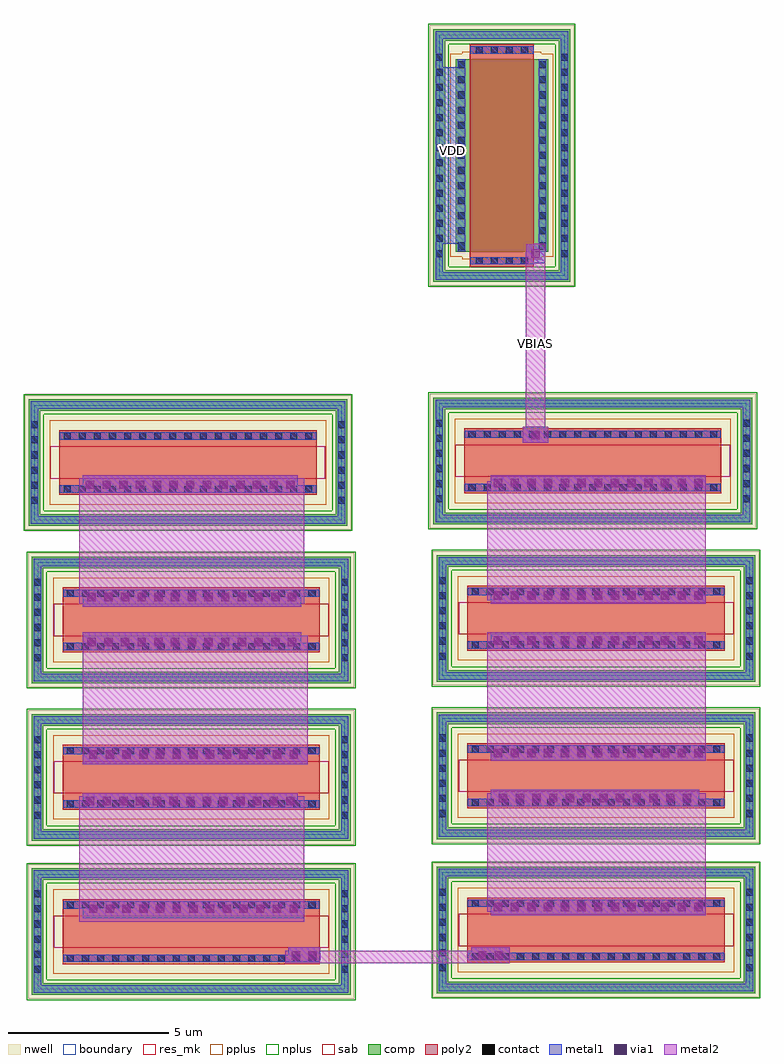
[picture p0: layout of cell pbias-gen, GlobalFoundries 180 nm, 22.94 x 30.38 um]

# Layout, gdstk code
import gdstk
lib = gdstk.Library(unit=1e-6, precision=1e-09)
def R(c, l, rs):  # rectangles x0, y0, x1, y1
    for r in rs: c.add(gdstk.rectangle(r[:2], r[2:], *l))
def A(c, l, x, y, w, h, nx, ny, dx, dy):  # array of equal rectangles
    R(c, l, [(x+i*dx, y+j*dy, x+i*dx+w, y+j*dy+h) for i in range(nx) for j in range(ny)])
boundary = (0, 0)
nwell = (21, 0)
comp = (22, 0)
poly2 = (30, 0)
pplus = (31, 0)
nplus = (32, 0)
contact = (33, 0)
metal1 = (34, 0)
via1 = (35, 0)
metal2 = (36, 0)
sab = (49, 0)
res_mk = (110, 5)

ppolyf_u_8kyxhd = lib.new_cell('ppolyf_u_8KYXHD')
R(ppolyf_u_8kyxhd, boundary, [(-4.78,-1.79,4.78,1.79)])
R(ppolyf_u_8kyxhd, nwell, [(-5.08,-2.09,5.08,2.09)])
R(ppolyf_u_8kyxhd, comp, [(-4.96,-1.97,4.96,-1.61), (-4.96,-1.61,-4.6,1.61), (4.6,-1.61,4.96,1.61), (-4.96,1.61,4.96,1.97)])
R(ppolyf_u_8kyxhd, poly2, [(-4,-1.01,4,1.01)])
R(ppolyf_u_8kyxhd, pplus, [(-4.3,-1.31,4.3,1.31)])
R(ppolyf_u_8kyxhd, nplus, [(-5.12,-2.13,5.12,-1.5), (-5.12,-1.5,-4.49,1.5), (4.49,-1.5,5.12,1.5), (-5.12,1.5,5.12,2.13)])
A(ppolyf_u_8kyxhd, contact, -4.89, -1.285, 0.22, 0.22, 1, 6, 0, 0.47)
A(ppolyf_u_8kyxhd, contact, 4.67, -1.285, 0.22, 0.22, 1, 6, 0, 0.47)
A(ppolyf_u_8kyxhd, contact, -3.87, -0.94, 0.22, 0.22, 17, 2, 0.47, 1.66)
R(ppolyf_u_8kyxhd, metal1, [(-4.895,-1.905,4.895,-1.675), (-4.895,-1.675,-4.665,1.675), (4.665,-1.675,4.895,1.675), (-3.99,-0.945,3.99,-0.715), (-3.99,0.715,3.99,0.945), (-4.895,1.675,4.895,1.905)])
R(ppolyf_u_8kyxhd, sab, [(-4.28,-0.5,4.28,0.5)])
R(ppolyf_u_8kyxhd, res_mk, [(-4,-0.5,4,0.5)])

pfet_03v3_cu5lap = lib.new_cell('pfet_03v3_CU5LAP')
R(pfet_03v3_cu5lap, boundary, [(-1.95,-3.75,1.95,3.75)])
R(pfet_03v3_cu5lap, nwell, [(-2.25,-4.05,2.25,4.05)])
R(pfet_03v3_cu5lap, comp, [(-2.13,-3.93,2.13,-3.57), (-2.13,-3.57,-1.77,3.57), (1.77,-3.57,2.13,3.57), (-1.44,-3,1.44,3), (-2.13,3.57,2.13,3.93)])
R(pfet_03v3_cu5lap, poly2, [(-1,-3.46,1,3.46)])
R(pfet_03v3_cu5lap, pplus, [(-1.23,-3.23,1.23,-3.16), (-1.6,-3.16,1.6,3.16), (-1.23,3.16,1.23,3.23)])
R(pfet_03v3_cu5lap, nplus, [(-2.29,-4.09,2.29,-3.46), (-2.29,-3.46,-1.66,3.46), (1.66,-3.46,2.29,3.46), (-2.29,3.46,2.29,4.09)])
A(pfet_03v3_cu5lap, contact, -0.815, -3.39, 0.22, 0.22, 4, 2, 0.47, 6.56)
A(pfet_03v3_cu5lap, contact, -2.06, -3.165, 0.22, 0.22, 1, 14, 0, 0.47)
A(pfet_03v3_cu5lap, contact, 1.84, -3.165, 0.22, 0.22, 1, 14, 0, 0.47)
A(pfet_03v3_cu5lap, contact, -1.37, -2.93, 0.22, 0.22, 1, 13, 0, 0.47)
A(pfet_03v3_cu5lap, contact, 1.15, -2.93, 0.22, 0.22, 1, 13, 0, 0.47)
R(pfet_03v3_cu5lap, metal1, [(-2.065,-3.865,2.065,-3.635), (-2.065,-3.635,-1.835,3.635), (1.835,-3.635,2.065,3.635), (-0.99,-3.395,0.99,-3.165), (-1.375,-2.99,-1.145,2.99), (1.145,-2.99,1.375,2.99), (-0.99,3.165,0.99,3.395), (-2.065,3.635,2.065,3.865)])

pbias_gen = lib.new_cell('pbias-gen')
R(pbias_gen, nwell, [(-0.2,-14.9,9.96,-10.72), (12.4,-14.85,22.56,-10.67), (-0.2,-10.1,9.96,-5.92), (12.4,-10.05,22.56,-5.87), (-0.2,-5.2,9.96,-1.02), (12.4,-5.15,22.56,-0.97), (12.3,-0.25,22.46,3.93)])
R(pbias_gen, comp, [(-0.08,-14.78,9.84,-14.42), (12.52,-14.73,22.44,-14.37), (-0.08,-14.42,0.28,-11.2), (9.48,-14.42,9.84,-11.2), (12.52,-14.37,12.88,-11.15), (22.08,-14.37,22.44,-11.15), (-0.08,-11.2,9.84,-10.84), (12.52,-11.15,22.44,-10.79), (-0.08,-9.98,9.84,-9.62), (12.52,-9.93,22.44,-9.57), (-0.08,-9.62,0.28,-6.4), (9.48,-9.62,9.84,-6.4), (12.52,-9.57,12.88,-6.35), (22.08,-9.57,22.44,-6.35), (-0.08,-6.4,9.84,-6.04), (12.52,-6.35,22.44,-5.99), (-0.08,-5.08,9.84,-4.72), (12.52,-5.03,22.44,-4.67), (-0.08,-4.72,0.28,-1.5), (9.48,-4.72,9.84,-1.5), (12.52,-4.67,12.88,-1.45), (22.08,-4.67,22.44,-1.45), (-0.08,-1.5,9.84,-1.14), (12.52,-1.45,22.44,-1.09), (12.42,-0.13,22.34,0.23), (12.42,0.23,12.78,3.45), (21.98,0.23,22.34,3.45), (12.42,3.45,22.34,3.81)])
R(pbias_gen, poly2, [(0.88,-13.82,8.88,-11.8), (13.48,-13.77,21.48,-11.75), (0.88,-9.02,8.88,-7), (13.48,-8.97,21.48,-6.95), (0.88,-4.12,8.88,-2.1), (13.48,-4.07,21.48,-2.05), (13.38,0.83,21.38,2.85)])
R(pbias_gen, pplus, [(0.58,-14.12,9.18,-11.5), (13.18,-14.07,21.78,-11.45), (0.58,-9.32,9.18,-6.7), (13.18,-9.27,21.78,-6.65), (0.58,-4.42,9.18,-1.8), (13.18,-4.37,21.78,-1.75), (13.08,0.53,21.68,3.15)])
R(pbias_gen, nplus, [(-0.24,-14.94,10,-14.31), (12.36,-14.89,22.6,-14.26), (-0.24,-14.31,0.39,-11.31), (9.37,-14.31,10,-11.31), (12.36,-14.26,12.99,-11.26), (21.97,-14.26,22.6,-11.26), (-0.24,-11.31,10,-10.68), (12.36,-11.26,22.6,-10.63), (-0.24,-10.14,10,-9.51), (12.36,-10.09,22.6,-9.46), (-0.24,-9.51,0.39,-6.51), (9.37,-9.51,10,-6.51), (12.36,-9.46,12.99,-6.46), (21.97,-9.46,22.6,-6.46), (-0.24,-6.51,10,-5.88), (12.36,-6.46,22.6,-5.83), (-0.24,-5.24,10,-4.61), (12.36,-5.19,22.6,-4.56), (-0.24,-4.61,0.39,-1.61), (9.37,-4.61,10,-1.61), (12.36,-4.56,12.99,-1.56), (21.97,-4.56,22.6,-1.56), (-0.24,-1.61,10,-0.98), (12.36,-1.56,22.6,-0.93), (12.26,-0.29,22.5,0.34), (12.26,0.34,12.89,3.34), (21.87,0.34,22.5,3.34), (12.26,3.34,22.5,3.97)])
A(pbias_gen, contact, -0.01, -14.095, 0.22, 0.22, 1, 6, 0, 0.47)
A(pbias_gen, contact, 9.55, -14.095, 0.22, 0.22, 1, 6, 0, 0.47)
A(pbias_gen, contact, 12.59, -14.045, 0.22, 0.22, 1, 6, 0, 0.47)
A(pbias_gen, contact, 22.15, -14.045, 0.22, 0.22, 1, 6, 0, 0.47)
A(pbias_gen, contact, 1.01, -13.75, 0.22, 0.22, 17, 2, 0.47, 1.66)
A(pbias_gen, contact, 13.61, -13.7, 0.22, 0.22, 17, 2, 0.47, 1.66)
A(pbias_gen, contact, -0.01, -9.295, 0.22, 0.22, 1, 6, 0, 0.47)
A(pbias_gen, contact, 9.55, -9.295, 0.22, 0.22, 1, 6, 0, 0.47)
A(pbias_gen, contact, 12.59, -9.245, 0.22, 0.22, 1, 6, 0, 0.47)
A(pbias_gen, contact, 22.15, -9.245, 0.22, 0.22, 1, 6, 0, 0.47)
A(pbias_gen, contact, 1.01, -8.95, 0.22, 0.22, 17, 2, 0.47, 1.66)
A(pbias_gen, contact, 13.61, -8.9, 0.22, 0.22, 17, 2, 0.47, 1.66)
A(pbias_gen, contact, -0.01, -4.395, 0.22, 0.22, 1, 6, 0, 0.47)
A(pbias_gen, contact, 9.55, -4.395, 0.22, 0.22, 1, 6, 0, 0.47)
A(pbias_gen, contact, 12.59, -4.345, 0.22, 0.22, 1, 6, 0, 0.47)
A(pbias_gen, contact, 22.15, -4.345, 0.22, 0.22, 1, 6, 0, 0.47)
A(pbias_gen, contact, 1.01, -4.05, 0.22, 0.22, 17, 2, 0.47, 1.66)
A(pbias_gen, contact, 13.61, -4, 0.22, 0.22, 17, 2, 0.47, 1.66)
A(pbias_gen, contact, 12.49, 0.555, 0.22, 0.22, 1, 6, 0, 0.47)
A(pbias_gen, contact, 22.05, 0.555, 0.22, 0.22, 1, 6, 0, 0.47)
A(pbias_gen, contact, 13.51, 0.9, 0.22, 0.22, 17, 2, 0.47, 1.66)
R(pbias_gen, metal1, [(-0.015,-14.715,9.775,-14.485), (12.585,-14.665,22.375,-14.435), (-0.015,-14.485,0.215,-11.135), (9.545,-14.485,9.775,-11.135), (12.585,-14.435,12.815,-11.085), (22.145,-14.435,22.375,-11.085), (0.89,-13.755,8.87,-13.7), (13.49,-13.705,21.47,-13.475), (0.89,-13.7,8.9,-13.525), (7.9,-13.525,8.9,-13.3), (13.6,-13.475,14.8,-13.3), (1.5,-12.4,8.4,-12.095), (14.2,-12.3,20.9,-12.045), (0.89,-12.095,8.87,-11.865), (13.49,-12.045,21.47,-11.815), (-0.015,-11.135,9.775,-10.905), (12.585,-11.085,22.375,-10.855), (-0.015,-9.915,9.775,-9.685), (12.585,-9.865,22.375,-9.635), (-0.015,-9.685,0.215,-6.335), (9.545,-9.685,9.775,-6.335), (12.585,-9.635,12.815,-6.285), (22.145,-9.635,22.375,-6.285), (0.89,-8.955,8.87,-8.725), (13.49,-8.905,21.47,-8.675), (1.5,-8.725,8.2,-8.5), (14.2,-8.675,20.7,-8.4), (1.5,-7.6,8.5,-7.295), (14.2,-7.5,20.9,-7.245), (0.89,-7.295,8.87,-7.065), (13.49,-7.245,21.47,-7.015), (-0.015,-6.335,9.775,-6.105), (12.585,-6.285,22.375,-6.055), (-0.015,-5.015,9.775,-4.785), (12.585,-4.965,22.375,-4.735), (-0.015,-4.785,0.215,-1.435), (9.545,-4.785,9.775,-1.435), (12.585,-4.735,12.815,-1.385), (22.145,-4.735,22.375,-1.385), (0.89,-4.055,8.87,-3.825), (13.49,-4.005,21.47,-3.775), (1.5,-3.825,8.3,-3.5), (14.2,-3.775,20.9,-3.5), (1.5,-2.7,8.3,-2.395), (14.2,-2.6,20.9,-2.345), (0.89,-2.395,8.87,-2.165), (13.49,-2.345,21.47,-2.115), (-0.015,-1.435,9.775,-1.205), (12.585,-1.385,22.375,-1.155), (12.485,-0.065,22.275,0.165), (12.485,0.165,12.715,3.515), (22.045,0.165,22.275,3.515), (13.39,0.895,21.37,1.125), (1.5,0.9,8.2,1.4), (14.2,1.125,20.9,1.4), (15.2,2.4,16,2.555), (13.39,2.555,21.37,2.785), (15.2,2.785,16,2.9), (12.485,3.515,22.275,3.745), (15.3,8,15.9,8.6), (12.5,8.6,13.4,14.1)])
A(pbias_gen, via1, 1.7, -12.23, 0.26, 0.26, 13, 2, 0.52, 4.8)
A(pbias_gen, via1, 14.3, -12.18, 0.26, 0.26, 13, 2, 0.52, 4.8)
A(pbias_gen, via1, 1.6, -8.88, 0.26, 0.26, 13, 2, 0.52, 9.85)
A(pbias_gen, via1, 14.46, -8.78, 0.26, 0.26, 12, 1, 0.52, 0)
A(pbias_gen, via1, 1.65, -3.93, 0.26, 0.26, 13, 2, 0.52, 1.4)
A(pbias_gen, via1, 14.3, -3.88, 0.26, 0.26, 13, 2, 0.52, 1.4)
A(pbias_gen, via1, 14.3, 1.02, 0.26, 0.26, 13, 1, 0.52, 0)
R(pbias_gen, via1, [(8.01,-13.68,8.27,-13.42), (8.53,-13.68,8.79,-13.42), (13.81,-13.68,14.07,-13.42), (14.33,-13.68,14.59,-13.42), (15.47,2.52,15.73,2.78), (15.47,8.17,15.73,8.43)])
R(pbias_gen, metal2, [(7.8,-13.8,14.8,-13.4), (7.9,-13.4,8.9,-13.3), (13.6,-13.4,14.8,-13.3), (1.4,-12.5,8.4,-8.6), (14.2,-12.3,20.9,-12.2), (14.1,-12.2,20.9,-8.5), (1.5,-8.6,8.2,-8.5), (14.2,-8.5,20.7,-8.4), (1.5,-7.6,8.5,-3.6), (14.2,-7.5,20.9,-7.2), (14.1,-7.2,20.9,-3.5), (1.5,-3.6,8.3,-3.5), (1.5,-2.7,8.3,-2.6), (1.4,-2.6,8.4,1.3), (14.2,-2.6,20.9,-2.5), (14.1,-2.5,20.9,1.2), (14.2,1.2,20.9,1.4), (1.5,1.3,8.2,1.4), (15.2,2.4,16,2.9), (15.3,2.9,15.9,8.6)])
R(pbias_gen, sab, [(0.6,-13.31,9.16,-12.31), (13.2,-13.26,21.76,-12.26), (0.6,-8.51,9.16,-7.51), (13.2,-8.46,21.76,-7.46), (0.6,-3.61,9.16,-2.61), (13.2,-3.56,21.76,-2.56), (13.1,1.34,21.66,2.34)])
R(pbias_gen, res_mk, [(0.88,-13.31,8.88,-12.31), (13.48,-13.26,21.48,-12.26), (0.88,-8.51,8.88,-7.51), (13.48,-8.46,21.48,-7.46), (0.88,-3.61,8.88,-2.61), (13.48,-3.56,21.48,-2.56), (13.38,1.34,21.38,2.34)])
pbias_gen.add(gdstk.Reference(ppolyf_u_8kyxhd, (17.38,1.84)))
pbias_gen.add(gdstk.Reference(ppolyf_u_8kyxhd, (17.48,-3.06)))
pbias_gen.add(gdstk.Reference(ppolyf_u_8kyxhd, (17.48,-7.96)))
pbias_gen.add(gdstk.Reference(ppolyf_u_8kyxhd, (17.48,-12.76)))
pbias_gen.add(gdstk.Reference(ppolyf_u_8kyxhd, (4.88,-12.81)))
pbias_gen.add(gdstk.Reference(ppolyf_u_8kyxhd, (4.88,-8.01)))
pbias_gen.add(gdstk.Reference(ppolyf_u_8kyxhd, (4.88,-3.11)))
pbias_gen.add(gdstk.Reference(ppolyf_u_8kyxhd, (4.78,1.79)))
pbias_gen.add(gdstk.Reference(pfet_03v3_cu5lap, (14.55,11.35)))
pbias_gen.add(gdstk.Label('VDD', (13,11.5), layer=34, texttype=0))
pbias_gen.add(gdstk.Label('VBIAS', (15.6,5.5), layer=36, texttype=0))

lib.write_gds('pbias-gen.gds')
